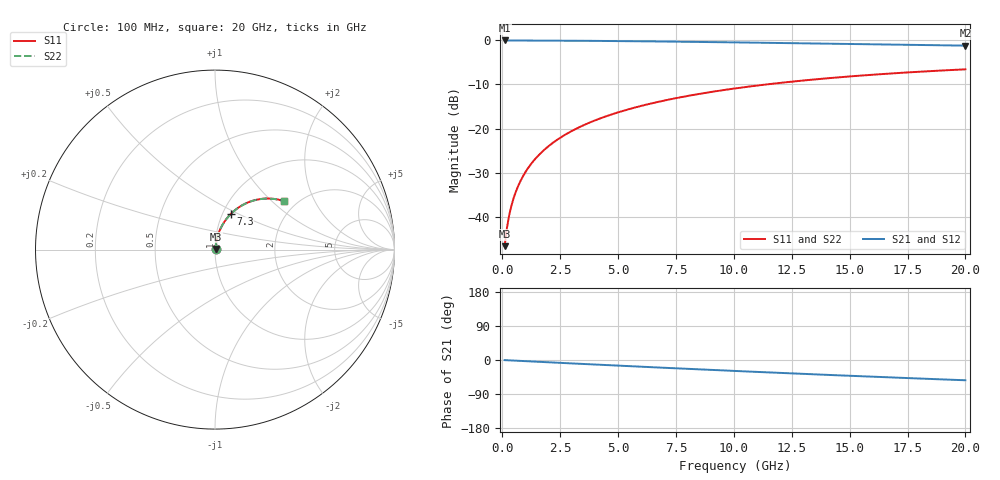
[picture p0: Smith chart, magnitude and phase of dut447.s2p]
! Touchstone file exported from HFSS 2026.1.0
!  File:  C:/ffzhzh/LocalFiles/Ansys_Project_Files/temp_train_BSMRDL_447_1783013215_46388.aedt
!  Generated:  01:28:51 AM Jul  3, 2026
!  Design:  BSMRDL
!  Project:  temp_train_BSMRDL_447_1783013215_46388
! Variables:
!  h_bsmrdl = 4.68um
!  h_ox = 20um
!  h_rdl = 5um
!  h_sub = 80um
!  h_tmrdl = 5um
!  h_tsv = 80um
!  h_via = 3um
!  l_bsmrdl = 816.48um
!  l_sub = 1216.48um
!  l_tmrdl = 200um
!  m_sub = 200um
!  pitch = 50.65um
!  r_tsv = 6um
!  s_tmrdl = 10um
!  w_bsmrdl = 20.7um
!  w_sub = 500um
!  w_tmrdl = 12um
!  x_tsv_center1 = 206um
!  x_tsv_center2 = 1043.18um
!  x_tsv_center3 = 1255.18um
!  x_tsv_center4 = 2092.36um
!  x_tsv_center5 = 2304.36um
!  x_tsv_center6 = 3141.54um
# GHz S MA R 50.000000
! Terminal data exported
! Port[1] = BSM_RDL1_1_T1
! Port[2] = BSM_RDL1_1_T2
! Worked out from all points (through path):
!   200 points, 100 MHz to 20 GHz, reference 50 ohm
!   highest |S21| = -0.03 dB at 100 MHz (marker M1); lowest = -1.2 dB at 20 GHz (marker M2)
!   group delay of S21, straight-line fit = 7.43 ps
!   lowest |S11| = -46.7 dB at 100 MHz (marker M3), VSWR 1.01, Z = 50.3 + j0.342 ohm
!   |S11| at or under -10 dB: start of sweep to 11.41 GHz
!   |S22| runs from -46.7 to -6.6 dB; largest |S21 - S12| = 3.4e-15
!   S11 on the Smith chart (normalised r, x): 100 MHz: 1.01, +0.01; 7.3 GHz: 1.09, +0.45; 20 GHz: 1.72, +1.19
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0.1  0.004636 47.1  0.9969 -0.3  0.9969 -0.3  0.004636 47.1
! Gamma 0 0 0 0
! Port Impedance 50 0 50 0
0.2  0.007477 63.1  0.9967 -0.6  0.9967 -0.6  0.007477 63.1
0.3  0.01048 69.7  0.9965 -0.9  0.9965 -0.9  0.01048 69.7
0.4  0.01352 73.4  0.9963 -1.2  0.9963 -1.2  0.01352 73.4
0.5  0.01658 75.6  0.9962 -1.5  0.9962 -1.5  0.01658 75.6
0.7  0.02276 78.2  0.9959 -2.1  0.9959 -2.1  0.02276 78.2
1  0.03208 79.9  0.9955 -3.0  0.9955 -3.0  0.03209 79.8
1.2  0.03832 80.2  0.9952 -3.6  0.9952 -3.6  0.03832 80.2
1.4  0.04455 80.3  0.9948 -4.2  0.9948 -4.2  0.04456 80.3
1.7  0.05389 80.2  0.9942 -5.1  0.9942 -5.1  0.05389 80.2
2  0.06318 79.8  0.9934 -6.0  0.9934 -6.0  0.06318 79.8
2.7  0.08465 78.4  0.9912 -8.1  0.9912 -8.1  0.08465 78.3
3.5  0.1088 76.4  0.9882 -10.5  0.9882 -10.5  0.1088 76.4
4.2  0.1294 74.5  0.985 -12.5  0.985 -12.5  0.1294 74.5
5  0.1525 72.4  0.981 -14.9  0.981 -14.9  0.1525 72.4
6.8  0.2024 67.6  0.9706 -20.0  0.9706 -20.0  0.2024 67.5
7.3  0.2158 66.2  0.9674 -21.4  0.9674 -21.4  0.2158 66.2
8.6  0.2494 62.8  0.9587 -25.0  0.9587 -25.0  0.2494 62.8
10.1  0.2861 58.9  0.9478 -29.0  0.9478 -29.0  0.2861 58.9
13.4  0.3586 50.6  0.9221 -37.7  0.9221 -37.7  0.3586 50.5
16.7  0.4196 42.7  0.8958 -45.8  0.8958 -45.8  0.4196 42.6
20  0.4692 35.2  0.871 -53.5  0.871 -53.5  0.4692 35.1
